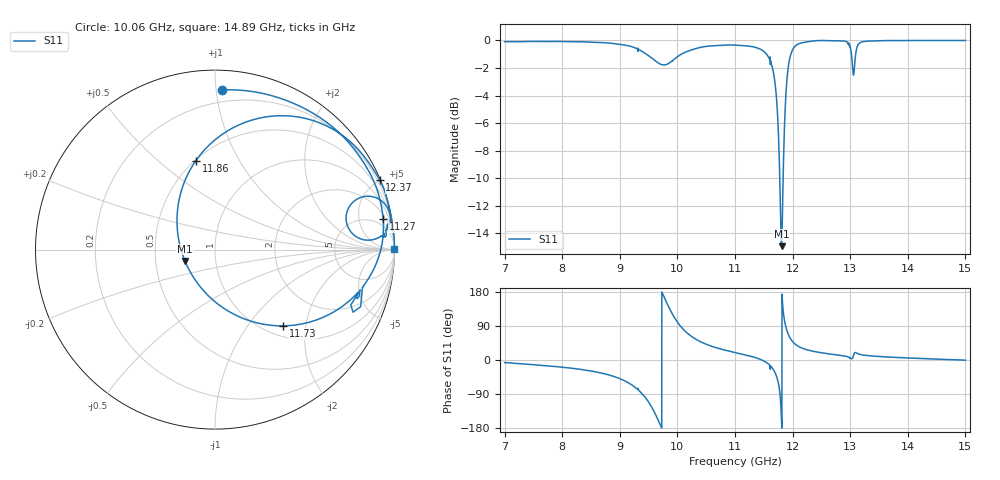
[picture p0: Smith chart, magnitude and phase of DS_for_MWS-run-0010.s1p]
! TOUCHSTONE file generated by CST DESIGN STUDIO
! Date and time: Mon Feb 10 16:54:11 2025
! Project name: C:\Work\MatlabApps\UnitCellType2OptimizationMatlab\CST\unitcell.cst
! Tree item: Tasks\Sweep1\SPara1\S-Parameters
! Header version: 2024
! Port assignment regex: !\s*Touchstone port\s*([0-9]+)\s*=\s*(CST MWS port|CST DES external port|CST DES block port)\s*(.+)\s* \(\"(.*)\"\)(\s*mode\s*([0-9]+))?.*
! Touchstone port assignment:
! Touchstone port 1 = CST DES external port 1 ("")
# GHz S MA R 50
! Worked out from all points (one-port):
!   4001 points, 7 GHz to 15 GHz, reference 50 ohm
!   lowest |S11| = -14.9 dB at 11.81 GHz (marker M1), VSWR 1.44, Z = 35.4 - j4.66 ohm
!   |S11| at or under -10 dB: 11.77717 GHz to 11.83562 GHz (58.45 MHz wide, 0.495 % of centre)
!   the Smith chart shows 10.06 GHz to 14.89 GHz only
!   S11 on the Smith chart (normalised r, x): 10.06 GHz: 0.12, +1.04; 11.27 GHz: 3, +10; 11.73 GHz: 1.19, -1.50; 11.86 GHz: 0.51, +0.68; 12.37 GHz: 0.05, +4.96; 14.89 GHz: open
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7  0.9903 -6.7
8  0.9909 -19.0
9  0.9681 -49.1
9.238  0.9448 -68.8
9.446  0.8965 -99.5
9.57  0.8585 -128.9
9.694  0.8225 -168.0
9.86  0.8284 136.5
10  0.8728 100.1
10.064  0.8906 87.4
10.422  0.946 46.8
11  0.9625 19.7
11.266  0.9522 10.2
11.57  0.8785 -9.3
11.664  0.7709 -24.8
11.732  0.5693 -48.3
11.808  0.1789 -159.2
11.862  0.5074 102.1
11.918  0.7798 70.5
12  0.9252 48.5
12.126  0.9758 33.9
12.366  0.9962 22.8
13  0.9466 5.5
13.062  0.7532 14.1
13.116  0.9412 17.9
14  0.9995 5.4
14.888  0.9996 0.2
15  1 -0.4
